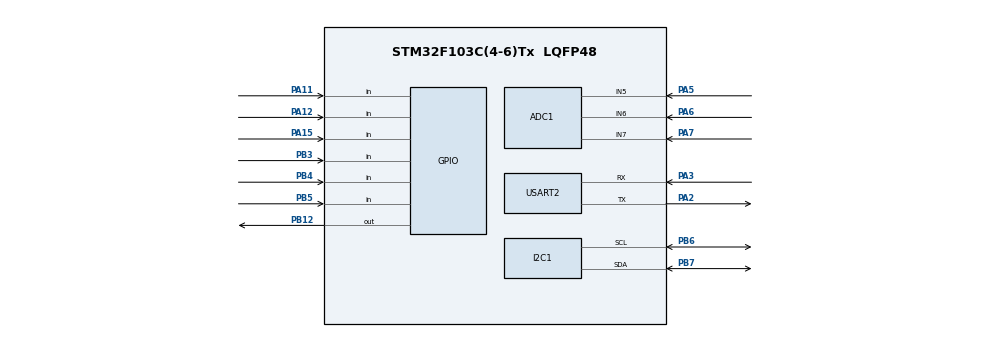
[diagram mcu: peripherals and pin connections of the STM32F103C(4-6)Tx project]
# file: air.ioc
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ADC1.Channel-2\#ChannelRegularConversion=ADC_CHANNEL_5
ADC1.ContinuousConvMode=DISABLE
ADC1.NbrOfConversion=1
ADC1.NbrOfConversionFlag=1
ADC1.Rank-2\#ChannelRegularConversion=1
ADC1.SamplingTime-2\#ChannelRegularConversion=ADC_SAMPLETIME_1CYCLE_5
ADC1.master=1
Mcu.Family=STM32F1
Mcu.Name=STM32F103C(4-6)Tx
Mcu.Package=LQFP48
NVIC.PriorityGroup=NVIC_PRIORITYGROUP_4
PA11.Signal=GPIO_Input
PA12.Signal=GPIO_Input
PA15.Signal=GPIO_Input
PA2.Mode=Asynchronous
PA2.Signal=USART2_TX
PA3.Mode=Asynchronous
PA3.Signal=USART2_RX
PA5.Signal=ADCx_IN5
PA6.Signal=ADCx_IN6
PA7.Signal=ADCx_IN7
PB12.Signal=GPIO_Output
PB3.Signal=GPIO_Input
PB4.Signal=GPIO_Input
PB5.Signal=GPIO_Input
PB6.Mode=I2C
PB6.Signal=I2C1_SCL
PB7.Mode=I2C
PB7.Signal=I2C1_SDA
PD0-OSC_IN.Mode=HSE-External-Oscillator
PD0-OSC_IN.Signal=RCC_OSC_IN
PD1-OSC_OUT.Mode=HSE-External-Oscillator
PD1-OSC_OUT.Signal=RCC_OSC_OUT
ProjectManager.HeapSize=0x200
ProjectManager.StackSize=0x400
ProjectManager.TargetToolchain=MDK-ARM V5.27
RCC.APB1Freq_Value=8000000
RCC.APB2Freq_Value=8000000
SH.ADCx_IN5.0=ADC1_IN5,IN5
SH.ADCx_IN6.0=ADC1_IN6,IN6
SH.ADCx_IN7.0=ADC1_IN7,IN7
USART2.VirtualMode=VM_ASYNC
VP_SYS_VS_ND.Mode=No_Debug
board=custom

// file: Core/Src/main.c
/* USER CODE BEGIN Header */
/**
 ******************************************************************************
 * @file           : main.c
 * @brief          : Main program body
 ******************************************************************************
 * @attention
 *
 * <h2><center>&copy; Copyright (c) 2022 STMicroelectronics.
 * All rights reserved.</center></h2>
 *
 * This software component is licensed by ST under BSD 3-Clause license,
 * the "License"; You may not use this file except in compliance with the
 * License. You may obtain a copy of the License at:
 *                        opensource.org/licenses/BSD-3-Clause
 *
 ******************************************************************************
 */
/* USER CODE END Header */
#include "main.h"

/* USER CODE BEGIN Includes */
#include "stdio.h"
#include "ssd1306.h"
/* USER CODE END Includes */

ADC_HandleTypeDef hadc1;

I2C_HandleTypeDef hi2c1;

UART_HandleTypeDef huart2;

void SystemClock_Config(void);
static void MX_GPIO_Init(void);
static void MX_ADC1_Init(void);
static void MX_I2C1_Init(void);
static void MX_USART2_UART_Init(void);

/* USER CODE BEGIN 0 */
uint16_t ADC_Read(uint32_t Channel)
{
  ADC_ChannelConfTypeDef sConfig = {0};
  sConfig.Channel = Channel; /* 通道 */
  sConfig.Rank = ADC_REGULAR_RANK_1;
  sConfig.SamplingTime = ADC_SAMPLETIME_1CYCLE_5; /* 采样时间 */
  if (HAL_ADC_ConfigChannel(&hadc1, &sConfig) != HAL_OK)
  {
    Error_Handler();
  }
  HAL_ADC_Start(&hadc1);
  HAL_ADC_PollForConversion(&hadc1, HAL_MAX_DELAY);
  return (uint16_t)HAL_ADC_GetValue(&hadc1);
}
/* USER CODE END 0 */

int main(void)
{
  /* USER CODE BEGIN 1 */
  char key[6] = "000000";
  uint8_t mode = 0;
  /* USER CODE END 1 */

  /* MCU Configuration--------------------------------------------------------*/

  /* Reset of all peripherals, Initializes the Flash interface and the Systick. */
  HAL_Init();

  /* Configure the system clock */
  SystemClock_Config();

  /* Initialize all configured peripherals */
  MX_GPIO_Init();
  MX_ADC1_Init();
  MX_I2C1_Init();
  MX_USART2_UART_Init();
  /* USER CODE BEGIN 2 */
  ssd1306_Init(&hi2c1);
  ssd1306_SetCursor(15, 15);
  ssd1306_WriteString((unsigned char *)"HRILUG", Font_16x26, 0x01);
  ssd1306_UpdateScreen(&hi2c1);
  HAL_Delay(1000);
  /* USER CODE END 2 */

  /* Infinite loop */
  while (1)
  {

    /* USER CODE BEGIN 3 */

    key[0] = HAL_GPIO_ReadPin(GPIOB, GPIO_PIN_5);
    key[1] = HAL_GPIO_ReadPin(GPIOB, GPIO_PIN_4);
    key[2] = HAL_GPIO_ReadPin(GPIOB, GPIO_PIN_3);
    key[3] = HAL_GPIO_ReadPin(GPIOA, GPIO_PIN_15);
    key[4] = HAL_GPIO_ReadPin(GPIOA, GPIO_PIN_12);
    key[5] = HAL_GPIO_ReadPin(GPIOA, GPIO_PIN_11);

    uint16_t ADC_Value[3];
    ADC_Value[0] = ADC_Read(ADC_CHANNEL_7);
    ADC_Value[1] = ADC_Read(ADC_CHANNEL_6);
    ADC_Value[2] = ADC_Read(ADC_CHANNEL_5);
    char ADC_Channel1[4], ADC_Channel2[4], ADC_Channel3[4];
    sprintf(&ADC_Channel1[0], "%u", ADC_Value[0]);
    sprintf(&ADC_Channel2[0], "%u", ADC_Value[1]);
    sprintf(&ADC_Channel3[0], "%u", ADC_Value[2]);

    for (int i = 1; i <= 4; i++)
    {
      HAL_UART_Transmit(&huart2, (uint8_t *)(key[i] | 0x30), 1, 20);
    }
    HAL_UART_Transmit(&huart2, (uint8_t *)&ADC_Channel1[0], 4, 20);
    HAL_UART_Transmit(&huart2, (uint8_t *)&ADC_Channel2[0], 4, 20);
    HAL_UART_Transmit(&huart2, (uint8_t *)&ADC_Channel3[0], 4, 20);
    HAL_UART_Transmit(&huart2, (uint8_t *)"\n", 1, 20);

    if (key[0] == 0)
    {
      mode = 0;
    }
    else if (key[5] == 0)
    {
      mode = 1;
    }

    // mode==0 --> ADC MODE
    if (mode == 0)
    {
      HAL_GPIO_WritePin(GPIOB,GPIO_PIN_12,GPIO_PIN_RESET);
      ssd1306_Fill(0x00);
      ssd1306_SetCursor(0, 0);
      ssd1306_WriteString((uint8_t *)&ADC_Channel1[0], Font_11x18, 0x01);
      ssd1306_SetCursor(0, 20);
      ssd1306_WriteString((uint8_t *)&ADC_Channel2[0], Font_11x18, 0x01);
      ssd1306_SetCursor(0, 40);
      ssd1306_WriteString((uint8_t *)&ADC_Channel3[0], Font_11x18, 0x01);
      ssd1306_UpdateScreen(&hi2c1);
    }
    else if (mode == 1)
    {
      HAL_GPIO_WritePin(GPIOB,GPIO_PIN_12,GPIO_PIN_SET);
      ssd1306_Fill(0x00);
      ssd1306_SetCursor(0, 0);
      ssd1306_WriteString((uint8_t *)"key1:", Font_7x10, 0x01);
      ssd1306_WriteString((uint8_t *)key[1], Font_7x10, 0x01);
      ssd1306_SetCursor(0, 15);
      ssd1306_WriteString((uint8_t *)"key2:", Font_7x10, 0x01);
      ssd1306_WriteString((uint8_t *)key[2], Font_7x10, 0x01);
      ssd1306_SetCursor(0, 30);
      ssd1306_WriteString((uint8_t *)"key3:", Font_7x10, 0x01);
      ssd1306_WriteString((uint8_t *)key[3], Font_7x10, 0x01);
      ssd1306_SetCursor(0, 45);
      ssd1306_WriteString((uint8_t *)"key4:", Font_7x10, 0x01);
      ssd1306_WriteString((uint8_t *)key[4], Font_7x10, 0x01);
      ssd1306_UpdateScreen(&hi2c1);
    }
  }
  /* USER CODE END 3 */
}

void SystemClock_Config(void)
{
  RCC_OscInitTypeDef RCC_OscInitStruct = {0};
  RCC_ClkInitTypeDef RCC_ClkInitStruct = {0};
  RCC_PeriphCLKInitTypeDef PeriphClkInit = {0};

  /** Initializes the RCC Oscillators according to the specified parameters
   * in the RCC_OscInitTypeDef structure.
   */
  RCC_OscInitStruct.OscillatorType = RCC_OSCILLATORTYPE_HSI;
  RCC_OscInitStruct.HSIState = RCC_HSI_ON;
  RCC_OscInitStruct.HSICalibrationValue = RCC_HSICALIBRATION_DEFAULT;
  RCC_OscInitStruct.PLL.PLLState = RCC_PLL_NONE;
  if (HAL_RCC_OscConfig(&RCC_OscInitStruct) != HAL_OK)
  {
    Error_Handler();
  }
  /** Initializes the CPU, AHB and APB buses clocks
   */
  RCC_ClkInitStruct.ClockType = RCC_CLOCKTYPE_HCLK | RCC_CLOCKTYPE_SYSCLK | RCC_CLOCKTYPE_PCLK1 | RCC_CLOCKTYPE_PCLK2;
  RCC_ClkInitStruct.SYSCLKSource = RCC_SYSCLKSOURCE_HSI;
  RCC_ClkInitStruct.AHBCLKDivider = RCC_SYSCLK_DIV1;
  RCC_ClkInitStruct.APB1CLKDivider = RCC_HCLK_DIV1;
  RCC_ClkInitStruct.APB2CLKDivider = RCC_HCLK_DIV1;

  if (HAL_RCC_ClockConfig(&RCC_ClkInitStruct, FLASH_LATENCY_0) != HAL_OK)
  {
    Error_Handler();
  }
  PeriphClkInit.PeriphClockSelection = RCC_PERIPHCLK_ADC;
  PeriphClkInit.AdcClockSelection = RCC_ADCPCLK2_DIV2;
  if (HAL_RCCEx_PeriphCLKConfig(&PeriphClkInit) != HAL_OK)
  {
    Error_Handler();
  }
}

static void MX_ADC1_Init(void)
{

  ADC_ChannelConfTypeDef sConfig = {0};

  /** Common config
   */
  hadc1.Instance = ADC1;
  hadc1.Init.ScanConvMode = ADC_SCAN_DISABLE;
  hadc1.Init.ContinuousConvMode = DISABLE;
  hadc1.Init.DiscontinuousConvMode = DISABLE;
  hadc1.Init.ExternalTrigConv = ADC_SOFTWARE_START;
  hadc1.Init.DataAlign = ADC_DATAALIGN_RIGHT;
  hadc1.Init.NbrOfConversion = 1;
  if (HAL_ADC_Init(&hadc1) != HAL_OK)
  {
    Error_Handler();
  }
  /** Configure Regular Channel
   */
  sConfig.Channel = ADC_CHANNEL_5;
  sConfig.Rank = ADC_REGULAR_RANK_1;
  sConfig.SamplingTime = ADC_SAMPLETIME_1CYCLE_5;
  if (HAL_ADC_ConfigChannel(&hadc1, &sConfig) != HAL_OK)
  {
    Error_Handler();
  }
}

static void MX_I2C1_Init(void)
{

  hi2c1.Instance = I2C1;
  hi2c1.Init.ClockSpeed = 100000;
  hi2c1.Init.DutyCycle = I2C_DUTYCYCLE_2;
  hi2c1.Init.OwnAddress1 = 0;
  hi2c1.Init.AddressingMode = I2C_ADDRESSINGMODE_7BIT;
  hi2c1.Init.DualAddressMode = I2C_DUALADDRESS_DISABLE;
  hi2c1.Init.OwnAddress2 = 0;
  hi2c1.Init.GeneralCallMode = I2C_GENERALCALL_DISABLE;
  hi2c1.Init.NoStretchMode = I2C_NOSTRETCH_DISABLE;
  if (HAL_I2C_Init(&hi2c1) != HAL_OK)
  {
    Error_Handler();
  }
}

static void MX_USART2_UART_Init(void)
{

  huart2.Instance = USART2;
  huart2.Init.BaudRate = 115200;
  huart2.Init.WordLength = UART_WORDLENGTH_8B;
  huart2.Init.StopBits = UART_STOPBITS_1;
  huart2.Init.Parity = UART_PARITY_NONE;
  huart2.Init.Mode = UART_MODE_TX_RX;
  huart2.Init.HwFlowCtl = UART_HWCONTROL_NONE;
  huart2.Init.OverSampling = UART_OVERSAMPLING_16;
  if (HAL_UART_Init(&huart2) != HAL_OK)
  {
    Error_Handler();
  }
}

static void MX_GPIO_Init(void)
{
  GPIO_InitTypeDef GPIO_InitStruct = {0};

  /* GPIO Ports Clock Enable */
  __HAL_RCC_GPIOD_CLK_ENABLE();
  __HAL_RCC_GPIOA_CLK_ENABLE();
  __HAL_RCC_GPIOB_CLK_ENABLE();

  /*Configure GPIO pin Output Level */
  HAL_GPIO_WritePin(GPIOB, GPIO_PIN_12, GPIO_PIN_RESET);

  /*Configure GPIO pin : PB12 */
  GPIO_InitStruct.Pin = GPIO_PIN_12;
  GPIO_InitStruct.Mode = GPIO_MODE_OUTPUT_PP;
  GPIO_InitStruct.Pull = GPIO_NOPULL;
  GPIO_InitStruct.Speed = GPIO_SPEED_FREQ_LOW;
  HAL_GPIO_Init(GPIOB, &GPIO_InitStruct);

  /*Configure GPIO pins : PA11 PA12 PA15 */
  GPIO_InitStruct.Pin = GPIO_PIN_11 | GPIO_PIN_12 | GPIO_PIN_15;
  GPIO_InitStruct.Mode = GPIO_MODE_INPUT;
  GPIO_InitStruct.Pull = GPIO_NOPULL;
  HAL_GPIO_Init(GPIOA, &GPIO_InitStruct);

  /*Configure GPIO pins : PB3 PB4 PB5 */
  GPIO_InitStruct.Pin = GPIO_PIN_3 | GPIO_PIN_4 | GPIO_PIN_5;
  GPIO_InitStruct.Mode = GPIO_MODE_INPUT;
  GPIO_InitStruct.Pull = GPIO_NOPULL;
  HAL_GPIO_Init(GPIOB, &GPIO_InitStruct);
}

void Error_Handler(void)
{
  __disable_irq();
  while (1)
  {
  }
}

/************************ (C) COPYRIGHT STMicroelectronics *****END OF FILE****/
